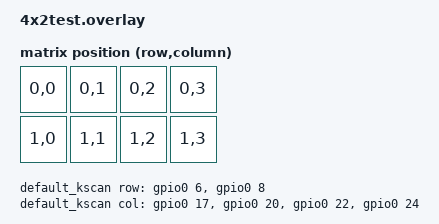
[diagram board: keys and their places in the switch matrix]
#include <dt-bindings/zmk/matrix_transform.h>

/ {
    chosen {
        zmk,kscan = &default_kscan;
        zmk,matrix_transform = &default_transform;
    };

    default_kscan: kscan {
        compatible = "zmk,kscan-gpio-matrix";
        label = "default_kscan";
        diode-direction = "col2row";

        row-gpios = <&gpio0 6  (GPIO_ACTIVE_HIGH | GPIO_PULL_DOWN)>,
                    <&gpio0 8  (GPIO_ACTIVE_HIGH | GPIO_PULL_DOWN)>;

        col-gpios = <&gpio0 17 GPIO_ACTIVE_HIGH>,
                    <&gpio0 20 GPIO_ACTIVE_HIGH>,
                    <&gpio0 22 GPIO_ACTIVE_HIGH>,
                    <&gpio0 24 GPIO_ACTIVE_HIGH>;
    };

    default_transform: matrix_transform {
        compatible = "zmk,matrix-transform";
        rows = <2>;
        columns = <4>;
        map = <
            RC(0,0) RC(0,1) RC(0,2) RC(0,3)
            RC(1,0) RC(1,1) RC(1,2) RC(1,3)
        >;
    };
};
